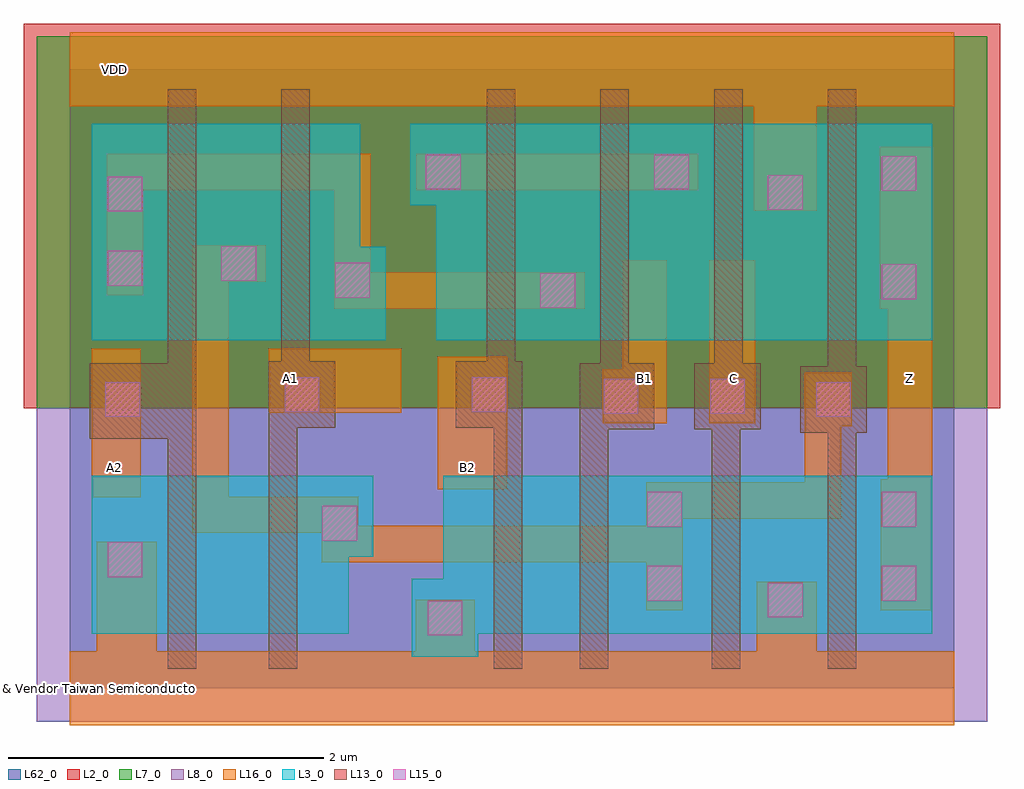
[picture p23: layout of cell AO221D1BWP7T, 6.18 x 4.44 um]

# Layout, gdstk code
import gdstk
lib = gdstk.Library(unit=1e-6, precision=1e-09)
def R(c, l, rs):  # rectangles x0, y0, x1, y1
    for r in rs: c.add(gdstk.rectangle(r[:2], r[2:], *l))
def P(c, l, *ps):  # polygons
    for p in ps: c.add(gdstk.Polygon(p, *l))
L2_0 = (2, 0)
L3_0 = (3, 0)
L7_0 = (7, 0)
L8_0 = (8, 0)
L13_0 = (13, 0)
L15_0 = (15, 0)
L16_0 = (16, 0)
L62_0 = (62, 0)

ao221d1bwp7t = lib.new_cell('AO221D1BWP7T')
R(ao221d1bwp7t, L2_0, [(-0.29,1.775,5.89,4.21)])
P(ao221d1bwp7t, L3_0, [(0.14,2.205),(0.14,3.575),(1.84,3.575),(1.84,2.795),(2,2.795),(2,2.205)],
  [(2.165,0.2),(2.165,0.695),(2.365,0.695),(2.365,1.345),(5.46,1.345),(5.46,0.345),(2.585,0.345),(2.585,0.2)],
  [(0.14,0.345),(0.14,1.345),(1.92,1.345),(1.92,0.835),(1.765,0.835),(1.765,0.345)],
  [(2.32,2.205),(2.32,3.06),(2.155,3.06),(2.155,3.575),(5.46,3.575),(5.46,2.205)])
R(ao221d1bwp7t, L7_0, [(-0.21,1.775,5.81,4.13)])
R(ao221d1bwp7t, L8_0, [(-0.21,-0.21,5.81,1.775)])
P(ao221d1bwp7t, L13_0, [(3.23,0.125),(3.23,2.06),(3.36,2.06),(3.36,3.795),(3.54,3.795),(3.54,2.06),(3.7,2.06),(3.7,1.64),(3.41,1.64),(3.41,0.125)],
  [(2.685,0.125),(2.685,1.65),(2.445,1.65),(2.445,2.07),(2.64,2.07),(2.64,3.795),(2.82,3.795),(2.82,2.07),(2.865,2.07),(2.865,0.125)],
  [(1.26,0.125),(1.26,2.07),(1.34,2.07),(1.34,3.795),(1.52,3.795),(1.52,2.07),(1.68,2.07),(1.68,1.65),(1.44,1.65),(1.44,0.125)],
  [(0.62,0.125),(0.62,1.58),(0.125,1.58),(0.125,2.06),(0.62,2.06),(0.62,3.795),(0.8,3.795),(0.8,0.125)],
  [(4.8,0.125),(4.8,1.62),(4.625,1.62),(4.625,2.04),(4.8,2.04),(4.8,3.795),(4.98,3.795),(4.98,2.04),(5.045,2.04),(5.045,1.62),(4.98,1.62),(4.98,0.125)],
  [(4.065,0.125),(4.065,1.64),(3.955,1.64),(3.955,2.06),(4.08,2.06),(4.08,3.795),(4.26,3.795),(4.26,2.06),(4.375,2.06),(4.375,1.64),(4.245,1.64),(4.245,0.125)])
R(ao221d1bwp7t, L15_0, [(2.265,0.335,2.485,0.555), (4.42,0.45,4.64,0.67), (3.655,0.555,3.875,0.775), (5.14,0.555,5.36,0.775), (0.24,0.705,0.46,0.925), (1.6,0.935,1.82,1.155), (3.655,1.025,3.875,1.245), (5.14,1.025,5.36,1.245), (0.225,1.72,0.445,1.94), (4.725,1.72,4.945,1.94), (3.38,1.74,3.6,1.96), (4.055,1.74,4.275,1.96), (1.36,1.75,1.58,1.97), (2.545,1.75,2.765,1.97), (2.98,2.41,3.2,2.63), (5.14,2.465,5.36,2.685), (1.68,2.475,1.9,2.695), (0.24,2.55,0.46,2.77), (0.96,2.58,1.18,2.8), (0.24,3.02,0.46,3.24), (4.42,3.03,4.64,3.25), (5.14,3.15,5.36,3.37), (2.255,3.16,2.475,3.38), (3.7,3.16,3.92,3.38)])
R(ao221d1bwp7t, L16_0, [(0.14,1.21,0.45,2.15), (2.33,1.26,2.77,2.1), (4.05,1.68,4.34,2.71), (1.26,1.745,2.1,2.15), (2.195,3.155,3.98,3.385)])
P(ao221d1bwp7t, L16_0, [(0,-0.235),(0,0.235),(0.17,0.235),(0.17,0.93),(0.55,0.93),(0.55,0.235),(2.19,0.235),(2.19,0.56),(2.565,0.56),(2.565,0.235),(4.35,0.235),(4.35,0.675),(4.73,0.675),(4.73,0.235),(5.6,0.235),(5.6,-0.235)],
  [(4.33,3.025),(4.33,3.685),(0,3.685),(0,4.155),(5.6,4.155),(5.6,3.685),(4.73,3.685),(4.73,3.025)],
  [(5.135,0.495),(5.135,1.325),(5.18,1.325),(5.18,2.405),(5.13,2.405),(5.13,3.43),(5.46,3.43),(5.46,0.495)],
  [(1.675,2.405),(1.675,3.155),(0.465,3.155),(0.465,2.49),(0.235,2.49),(0.235,3.385),(1.905,3.385),(1.905,2.635),(3.26,2.635),(3.26,2.405)],
  [(3.375,1.68),(3.375,2.02),(3.5,2.02),(3.5,2.71),(3.78,2.71),(3.78,1.68)],
  [(0.775,0.985),(0.775,2.805),(1.24,2.805),(1.24,2.575),(1.005,2.575),(1.005,1.215),(1.825,1.215),(1.825,1.03),(3.65,1.03),(3.65,1.305),(4.655,1.305),(4.655,2),(4.95,2),(4.95,1.66),(4.885,1.66),(4.885,1.075),(3.88,1.075),(3.88,0.495),(3.65,0.495),(3.65,0.8),(1.595,0.8),(1.595,0.985)])
R(ao221d1bwp7t, L62_0, [(0,0,5.6,3.92)])
ao221d1bwp7t.add(gdstk.Label('& Vendor Taiwan Semiconductor Manufacturing Corp.', (0,0), layer=63, texttype=63))
ao221d1bwp7t.add(gdstk.Label('& Product tcb018gbwp7t', (0,0), layer=63, texttype=63))
ao221d1bwp7t.add(gdstk.Label('& Version 270a', (0,0), layer=63, texttype=63))
ao221d1bwp7t.add(gdstk.Label('& Metric 21.952', (0,0), layer=63, texttype=63))
ao221d1bwp7t.add(gdstk.Label('& Distributor TSMC', (0,0), layer=63, texttype=63))
ao221d1bwp7t.add(gdstk.Label('& SerialNumber 000000', (0,0), layer=63, texttype=63))
ao221d1bwp7t.add(gdstk.Label('& _Instance_tag AO221D1BWP7T', (0,0), layer=63, texttype=63))
ao221d1bwp7t.add(gdstk.Label('& Vendor Taiwan Semiconductor Manufacturing Corp.', (0,0), layer=11, texttype=0))
ao221d1bwp7t.add(gdstk.Label('& Product tcb018gbwp7t', (0,0), layer=11, texttype=0))
ao221d1bwp7t.add(gdstk.Label('& Version 270a', (0,0), layer=11, texttype=0))
ao221d1bwp7t.add(gdstk.Label('& Metric 21.952', (0,0), layer=11, texttype=0))
ao221d1bwp7t.add(gdstk.Label('& Distributor TSMC', (0,0), layer=11, texttype=0))
ao221d1bwp7t.add(gdstk.Label('& SerialNumber 000000', (0,0), layer=11, texttype=0))
ao221d1bwp7t.add(gdstk.Label('& _Instance_tag AO221D1BWP7T', (0,0), layer=11, texttype=0))
ao221d1bwp7t.add(gdstk.Label('AO221D1BWP7T', (0,0), layer=59, texttype=0))
ao221d1bwp7t.add(gdstk.Label('VSS', (0.28,0), layer=40, texttype=0))
ao221d1bwp7t.add(gdstk.Label('A2', (0.28,1.4), layer=40, texttype=0))
ao221d1bwp7t.add(gdstk.Label('VDD', (0.28,3.92), layer=40, texttype=0))
ao221d1bwp7t.add(gdstk.Label('A1', (1.4,1.96), layer=40, texttype=0))
ao221d1bwp7t.add(gdstk.Label('B2', (2.52,1.4), layer=40, texttype=0))
ao221d1bwp7t.add(gdstk.Label('B1', (3.64,1.96), layer=40, texttype=0))
ao221d1bwp7t.add(gdstk.Label('C', (4.2,1.96), layer=40, texttype=0))
ao221d1bwp7t.add(gdstk.Label('Z', (5.32,1.96), layer=40, texttype=0))

lib.write_gds('AO221D1BWP7T.gds')
